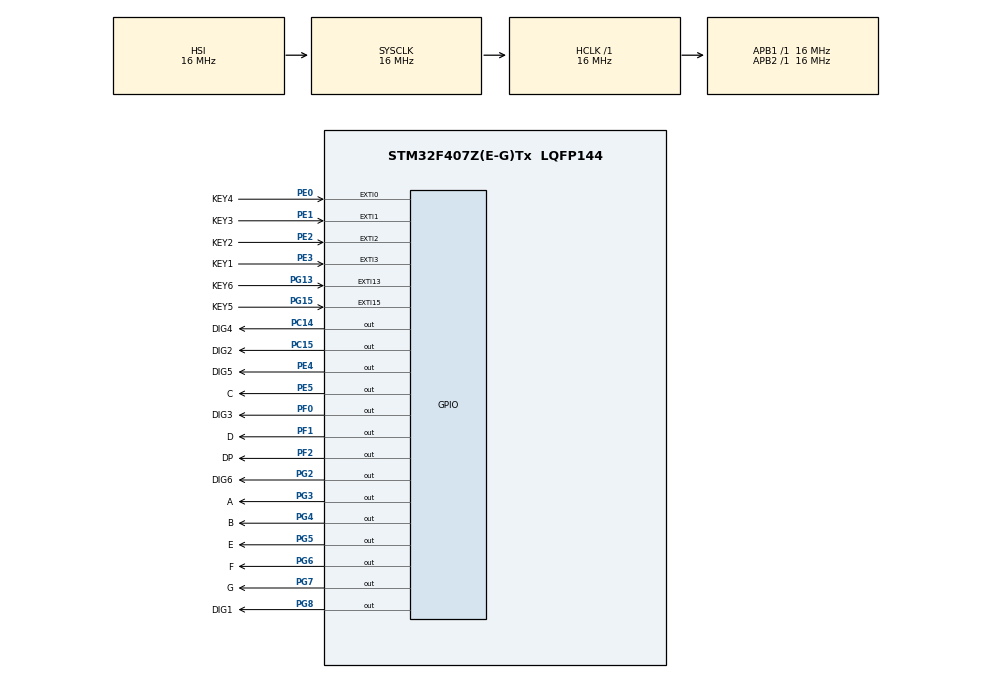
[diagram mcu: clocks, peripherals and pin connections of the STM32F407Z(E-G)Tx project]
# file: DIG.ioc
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Mcu.Family=STM32F4
Mcu.Name=STM32F407Z(E-G)Tx
Mcu.Package=LQFP144
NVIC.EXTI0_IRQn=true\:0\:0\:false\:false\:true\:true\:true\:true
NVIC.EXTI15_10_IRQn=true\:0\:0\:false\:false\:true\:true\:true\:true
NVIC.EXTI1_IRQn=true\:0\:0\:false\:false\:true\:true\:true\:true
NVIC.EXTI2_IRQn=true\:0\:0\:false\:false\:true\:true\:true\:true
NVIC.EXTI3_IRQn=true\:0\:0\:false\:false\:true\:true\:true\:true
NVIC.FPU_IRQn=true\:0\:0\:false\:false\:true\:true\:false\:true
NVIC.PriorityGroup=NVIC_PRIORITYGROUP_4
PC14-OSC32_IN.GPIO_Label=DIG4
PC14-OSC32_IN.PinState=GPIO_PIN_SET
PC14-OSC32_IN.Signal=GPIO_Output
PC15-OSC32_OUT.GPIO_Label=DIG2
PC15-OSC32_OUT.PinState=GPIO_PIN_SET
PC15-OSC32_OUT.Signal=GPIO_Output
PE0.GPIO_Label=KEY4
PE0.Signal=GPXTI0
PE1.GPIO_Label=KEY3
PE1.Signal=GPXTI1
PE2.GPIO_Label=KEY2
PE2.Signal=GPXTI2
PE3.GPIO_Label=KEY1
PE3.Signal=GPXTI3
PE4.GPIO_Label=DIG5
PE4.PinState=GPIO_PIN_SET
PE4.Signal=GPIO_Output
PE5.GPIO_Label=C
PE5.PinState=GPIO_PIN_RESET
PE5.Signal=GPIO_Output
PF0.GPIO_Label=DIG3
PF0.PinState=GPIO_PIN_SET
PF0.Signal=GPIO_Output
PF1.GPIO_Label=D
PF1.PinState=GPIO_PIN_RESET
PF1.Signal=GPIO_Output
PF2.GPIO_Label=DP
PF2.Signal=GPIO_Output
PG13.GPIO_Label=KEY6
PG13.Signal=GPXTI13
PG15.GPIO_Label=KEY5
PG15.Signal=GPXTI15
PG2.GPIO_Label=DIG6
PG2.PinState=GPIO_PIN_SET
PG2.Signal=GPIO_Output
PG3.GPIO_Label=A
PG3.PinState=GPIO_PIN_RESET
PG3.Signal=GPIO_Output
PG4.GPIO_Label=B
PG4.PinState=GPIO_PIN_RESET
PG4.Signal=GPIO_Output
PG5.GPIO_Label=E
PG5.PinState=GPIO_PIN_RESET
PG5.Signal=GPIO_Output
PG6.GPIO_Label=F
PG6.PinState=GPIO_PIN_RESET
PG6.Signal=GPIO_Output
PG7.GPIO_Label=G
PG7.PinState=GPIO_PIN_RESET
PG7.Signal=GPIO_Output
PG8.GPIO_Label=DIG1
PG8.PinState=GPIO_PIN_SET
PG8.Signal=GPIO_Output
ProjectManager.HeapSize=0x200
ProjectManager.StackSize=0x400
ProjectManager.TargetToolchain=MDK-ARM V5.32
RCC.AHBFreq_Value=16000000
RCC.APB1Freq_Value=16000000
RCC.APB2Freq_Value=16000000
RCC.CortexFreq_Value=16000000
RCC.HSE_VALUE=25000000
RCC.HSI_VALUE=16000000
RCC.LSE_VALUE=32768
RCC.SYSCLKFreq_VALUE=16000000
RCC.VCOOutputFreq_Value=192000000
board=custom

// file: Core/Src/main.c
/* USER CODE BEGIN Header */
/**
  ******************************************************************************
  * @file           : main.c
  * @brief          : Main program body
  ******************************************************************************
  * @attention
  *
  * Copyright (c) 2025 STMicroelectronics.
  * All rights reserved.
  *
  * This software is licensed under terms that can be found in the LICENSE file
  * in the root directory of this software component.
  * If no LICENSE file comes with this software, it is provided AS-IS.
  *
  ******************************************************************************
  */
/* USER CODE END Header */
#include "main.h"
#include "gpio.h"

void SystemClock_Config(void);

int main(void)
{

  /* MCU Configuration--------------------------------------------------------*/

  /* Reset of all peripherals, Initializes the Flash interface and the Systick. */
  HAL_Init();

  /* Configure the system clock */
  SystemClock_Config();

  /* Initialize all configured peripherals */
  MX_GPIO_Init();

  /* Infinite loop */
  while (1)
  {

  }
}

void SystemClock_Config(void)
{
  RCC_OscInitTypeDef RCC_OscInitStruct = {0};
  RCC_ClkInitTypeDef RCC_ClkInitStruct = {0};

  /** Configure the main internal regulator output voltage
  */
  __HAL_RCC_PWR_CLK_ENABLE();
  __HAL_PWR_VOLTAGESCALING_CONFIG(PWR_REGULATOR_VOLTAGE_SCALE1);

  /** Initializes the RCC Oscillators according to the specified parameters
  * in the RCC_OscInitTypeDef structure.
  */
  RCC_OscInitStruct.OscillatorType = RCC_OSCILLATORTYPE_HSI;
  RCC_OscInitStruct.HSIState = RCC_HSI_ON;
  RCC_OscInitStruct.HSICalibrationValue = RCC_HSICALIBRATION_DEFAULT;
  RCC_OscInitStruct.PLL.PLLState = RCC_PLL_NONE;
  if (HAL_RCC_OscConfig(&RCC_OscInitStruct) != HAL_OK)
  {
    Error_Handler();
  }

  /** Initializes the CPU, AHB and APB buses clocks
  */
  RCC_ClkInitStruct.ClockType = RCC_CLOCKTYPE_HCLK|RCC_CLOCKTYPE_SYSCLK
                              |RCC_CLOCKTYPE_PCLK1|RCC_CLOCKTYPE_PCLK2;
  RCC_ClkInitStruct.SYSCLKSource = RCC_SYSCLKSOURCE_HSI;
  RCC_ClkInitStruct.AHBCLKDivider = RCC_SYSCLK_DIV1;
  RCC_ClkInitStruct.APB1CLKDivider = RCC_HCLK_DIV1;
  RCC_ClkInitStruct.APB2CLKDivider = RCC_HCLK_DIV1;

  if (HAL_RCC_ClockConfig(&RCC_ClkInitStruct, FLASH_LATENCY_0) != HAL_OK)
  {
    Error_Handler();
  }
}

/* USER CODE BEGIN 4 */
void HAL_GPIO_EXTI_Callback(uint16_t GPIO_Pin)
{
		if(GPIO_Pin == KEY1_Pin)
		{
		HAL_GPIO_WritePin(GPIOG, DIG1_Pin, GPIO_PIN_RESET);
		HAL_GPIO_WritePin(GPIOC, DIG2_Pin, GPIO_PIN_SET);
		HAL_GPIO_WritePin(GPIOF, DIG3_Pin, GPIO_PIN_SET);
		HAL_GPIO_WritePin(GPIOC, DIG4_Pin, GPIO_PIN_SET);
		HAL_GPIO_WritePin(GPIOE, DIG5_Pin, GPIO_PIN_SET);
		HAL_GPIO_WritePin(GPIOG, DIG6_Pin, GPIO_PIN_SET);
		HAL_GPIO_WritePin(GPIOG, DIG6_Pin, GPIO_PIN_SET);
		HAL_GPIO_WritePin(GPIOG, A_Pin, GPIO_PIN_RESET);
		HAL_GPIO_WritePin(GPIOG, B_Pin, GPIO_PIN_SET);
		HAL_GPIO_WritePin(GPIOE, C_Pin, GPIO_PIN_SET);
		HAL_GPIO_WritePin(GPIOF, D_Pin, GPIO_PIN_RESET);
		HAL_GPIO_WritePin(GPIOG, E_Pin, GPIO_PIN_RESET);
		HAL_GPIO_WritePin(GPIOG, F_Pin, GPIO_PIN_RESET);
		HAL_GPIO_WritePin(GPIOG, G_Pin, GPIO_PIN_RESET);
		}
		if(GPIO_Pin == KEY2_Pin)
		{
		HAL_GPIO_WritePin(GPIOG, DIG1_Pin, GPIO_PIN_SET);
		HAL_GPIO_WritePin(GPIOC, DIG2_Pin, GPIO_PIN_RESET);
		HAL_GPIO_WritePin(GPIOF, DIG3_Pin, GPIO_PIN_SET);
		HAL_GPIO_WritePin(GPIOC, DIG4_Pin, GPIO_PIN_SET);
		HAL_GPIO_WritePin(GPIOE, DIG5_Pin, GPIO_PIN_SET);
		HAL_GPIO_WritePin(GPIOG, DIG6_Pin, GPIO_PIN_SET);
		HAL_GPIO_WritePin(GPIOG, A_Pin, GPIO_PIN_SET);
		HAL_GPIO_WritePin(GPIOG, B_Pin, GPIO_PIN_SET);
		HAL_GPIO_WritePin(GPIOE, C_Pin, GPIO_PIN_RESET);
		HAL_GPIO_WritePin(GPIOF, D_Pin, GPIO_PIN_SET);
		HAL_GPIO_WritePin(GPIOG, E_Pin, GPIO_PIN_SET);
		HAL_GPIO_WritePin(GPIOG, F_Pin, GPIO_PIN_RESET);
		HAL_GPIO_WritePin(GPIOG, G_Pin, GPIO_PIN_SET);
		}
		if(GPIO_Pin == KEY3_Pin)
		{
		HAL_GPIO_WritePin(GPIOG, DIG1_Pin, GPIO_PIN_SET);
		HAL_GPIO_WritePin(GPIOC, DIG2_Pin, GPIO_PIN_SET);
		HAL_GPIO_WritePin(GPIOF, DIG3_Pin, GPIO_PIN_RESET);
		HAL_GPIO_WritePin(GPIOC, DIG4_Pin, GPIO_PIN_SET);
		HAL_GPIO_WritePin(GPIOE, DIG5_Pin, GPIO_PIN_SET);
		HAL_GPIO_WritePin(GPIOG, DIG6_Pin, GPIO_PIN_SET);
		HAL_GPIO_WritePin(GPIOG, A_Pin, GPIO_PIN_SET);
		HAL_GPIO_WritePin(GPIOG, B_Pin, GPIO_PIN_SET);
		HAL_GPIO_WritePin(GPIOE, C_Pin, GPIO_PIN_SET);
		HAL_GPIO_WritePin(GPIOF, D_Pin, GPIO_PIN_SET);
		HAL_GPIO_WritePin(GPIOG, E_Pin, GPIO_PIN_RESET);
		HAL_GPIO_WritePin(GPIOG, F_Pin, GPIO_PIN_RESET);
		HAL_GPIO_WritePin(GPIOG, G_Pin, GPIO_PIN_SET);
		}
		if(GPIO_Pin == KEY4_Pin)
		{
		HAL_GPIO_WritePin(GPIOG, DIG1_Pin, GPIO_PIN_SET);
		HAL_GPIO_WritePin(GPIOC, DIG2_Pin, GPIO_PIN_SET);
		HAL_GPIO_WritePin(GPIOF, DIG3_Pin, GPIO_PIN_SET);
		HAL_GPIO_WritePin(GPIOC, DIG4_Pin, GPIO_PIN_RESET);
		HAL_GPIO_WritePin(GPIOE, DIG5_Pin, GPIO_PIN_SET);
		HAL_GPIO_WritePin(GPIOG, DIG6_Pin, GPIO_PIN_SET);
		HAL_GPIO_WritePin(GPIOG, A_Pin, GPIO_PIN_RESET);
		HAL_GPIO_WritePin(GPIOG, B_Pin, GPIO_PIN_SET);
		HAL_GPIO_WritePin(GPIOE, C_Pin, GPIO_PIN_SET);
		HAL_GPIO_WritePin(GPIOF, D_Pin, GPIO_PIN_RESET);
		HAL_GPIO_WritePin(GPIOG, E_Pin, GPIO_PIN_RESET);
		HAL_GPIO_WritePin(GPIOG, F_Pin, GPIO_PIN_SET);
		HAL_GPIO_WritePin(GPIOG, G_Pin, GPIO_PIN_SET);
		}
		if(GPIO_Pin == KEY5_Pin)
		{
		HAL_GPIO_WritePin(GPIOG, DIG1_Pin, GPIO_PIN_SET);
		HAL_GPIO_WritePin(GPIOC, DIG2_Pin, GPIO_PIN_SET);
		HAL_GPIO_WritePin(GPIOF, DIG3_Pin, GPIO_PIN_SET);
		HAL_GPIO_WritePin(GPIOC, DIG4_Pin, GPIO_PIN_SET);
		HAL_GPIO_WritePin(GPIOE, DIG5_Pin, GPIO_PIN_RESET);
		HAL_GPIO_WritePin(GPIOG, DIG6_Pin, GPIO_PIN_SET);
		HAL_GPIO_WritePin(GPIOG, A_Pin, GPIO_PIN_SET);
		HAL_GPIO_WritePin(GPIOG, B_Pin, GPIO_PIN_RESET);
		HAL_GPIO_WritePin(GPIOE, C_Pin, GPIO_PIN_SET);
		HAL_GPIO_WritePin(GPIOF, D_Pin, GPIO_PIN_SET);
		HAL_GPIO_WritePin(GPIOG, E_Pin, GPIO_PIN_RESET);
		HAL_GPIO_WritePin(GPIOG, F_Pin, GPIO_PIN_SET);
		HAL_GPIO_WritePin(GPIOG, G_Pin, GPIO_PIN_SET);
		}
		if(GPIO_Pin == KEY6_Pin)
		{
		HAL_GPIO_WritePin(GPIOG, DIG1_Pin, GPIO_PIN_SET);
		HAL_GPIO_WritePin(GPIOC, DIG2_Pin, GPIO_PIN_SET);
		HAL_GPIO_WritePin(GPIOF, DIG3_Pin, GPIO_PIN_SET);
		HAL_GPIO_WritePin(GPIOC, DIG4_Pin, GPIO_PIN_SET);
		HAL_GPIO_WritePin(GPIOE, DIG5_Pin, GPIO_PIN_SET);
		HAL_GPIO_WritePin(GPIOG, DIG6_Pin, GPIO_PIN_RESET);
		HAL_GPIO_WritePin(GPIOG, A_Pin, GPIO_PIN_SET);
		HAL_GPIO_WritePin(GPIOG, B_Pin, GPIO_PIN_RESET);
		HAL_GPIO_WritePin(GPIOE, C_Pin, GPIO_PIN_SET);
		HAL_GPIO_WritePin(GPIOF, D_Pin, GPIO_PIN_SET);
		HAL_GPIO_WritePin(GPIOG, E_Pin, GPIO_PIN_SET);
		HAL_GPIO_WritePin(GPIOG, F_Pin, GPIO_PIN_SET);
		HAL_GPIO_WritePin(GPIOG, G_Pin, GPIO_PIN_SET);
		}
}
/* USER CODE END 4 */

void Error_Handler(void)
{
  __disable_irq();
  while (1)
  {
  }
}
